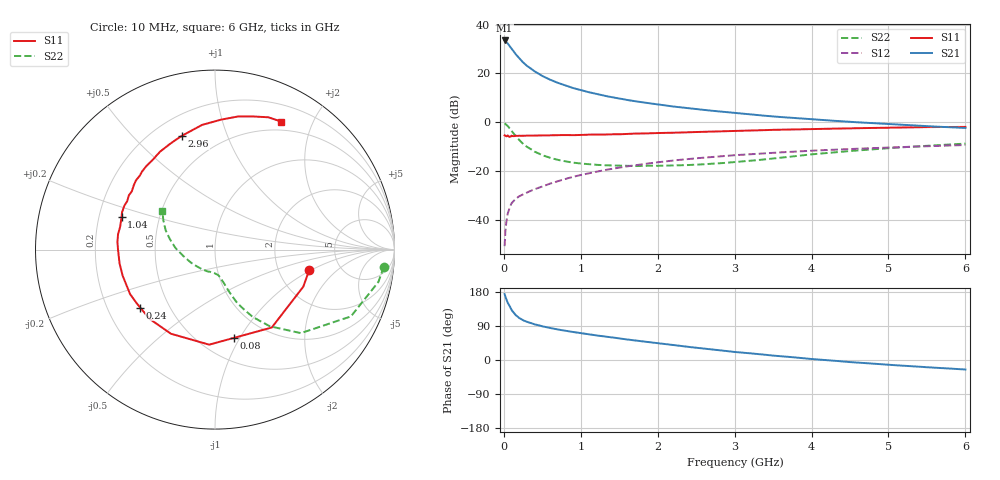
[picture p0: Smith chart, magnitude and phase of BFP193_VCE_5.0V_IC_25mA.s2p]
! Infineon Technologies  Discrete & RF Semiconductors
! BFP193
! VCE = 5.0 V,  IC =  25 mA
! Common Emitter S-Parameters:  Jan 2016
# GHz  S  MA  R  50
!  f  S11  S21  S12  S22
! GHz  MAG  ANG  MAG  ANG  MAG  ANG  MAG  ANG
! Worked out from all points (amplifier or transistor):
!   210 points, 10 MHz to 6 GHz, reference 50 ohm
!   highest |S21| = 33.5 dB at 10 MHz (marker M1)
!   |S21| within 3 dB of that: start of sweep to 91.89 MHz
!   unconditionally stable (mu >= 1): 759.4 MHz to 3.899 GHz
!   at 185 MHz: K = 0.53, MSG = 28.7 dB, |S12| = -30.7 dB
!   at 1.52 GHz: K = 1.07, MAG = 12.4 dB, |S12| = -18.5 dB
!   at 6 GHz: K = 0.93, MSG = 3.5 dB, |S12| = -9.3 dB
!   S11 on the Smith chart (normalised r, x): 10 MHz: 2.99, -0.95; 80 MHz: 0.72, -0.95; 240 MHz: 0.34, -0.31; 1.04 GHz: 0.30, +0.16; 2.96 GHz: 0.31, +0.70; 6 GHz: 0.39, +1.57
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0.01  0.5375 -12.1  47.25 173.9  0.0029 86.0  0.9457 -5.8
0.02  0.5336 -22.8  45.58 166.8  0.0058 80.7  0.9279 -11.2
0.05  0.5371 -53.9  41.14 151.0  0.0134 69.2  0.8438 -26.2
0.08  0.5029 -77.7  35.34 140.5  0.0184 61.2  0.7289 -36.0
0.1  0.5306 -93.5  32.32 131.6  0.0219 58.0  0.6673 -44.2
0.15  0.5293 -117.7  25.13 118.8  0.0265 53.8  0.526 -54.4
0.2  0.5306 -133.2  20.33 110.7  0.0305 52.2  0.4309 -60.7
0.24  0.5275 -142.2  17.47 106.1  0.0328 51.4  0.3739 -63.9
0.26  0.5291 -146.1  16.27 103.9  0.034 51.5  0.3507 -65.4
0.3  0.5342 -152.4  14.29 100.4  0.0363 52.5  0.3141 -67.8
0.4  0.5347 -164.3  10.99 94.1  0.0424 54.3  0.2497 -71.3
0.5  0.5373 -171.8  8.85 88.9  0.0482 56.7  0.2113 -73.6
0.7  0.5452 175.5  6.419 80.5  0.0619 58.3  0.1697 -77.6
1.02  0.55 161.4  4.451 70.3  0.0844 58.7  0.1419 -83.6
1.04  0.5519 160.6  4.372 69.8  0.0858 58.7  0.141 -84.1
1.4  0.5671 147.8  3.257 59.7  0.1105 56.6  0.1307 -93.3
2.02  0.6023 129.5  2.287 43.9  0.1527 50.6  0.1283 -114.2
2.96  0.6596 106.2  1.569 22.2  0.209 39.6  0.151 -150.7
3.1  0.6682 103.4  1.497 19.5  0.2161 37.9  0.1572 -155.8
4.1  0.7293 85.9  1.124 1.1  0.2659 26.5  0.2268 175.4
5.1  0.7762 72.6  0.9 -13.9  0.3073 15.7  0.3016 156.9
6  0.8024 62.8  0.764 -25.1  0.3418 6.2  0.3651 143.6
